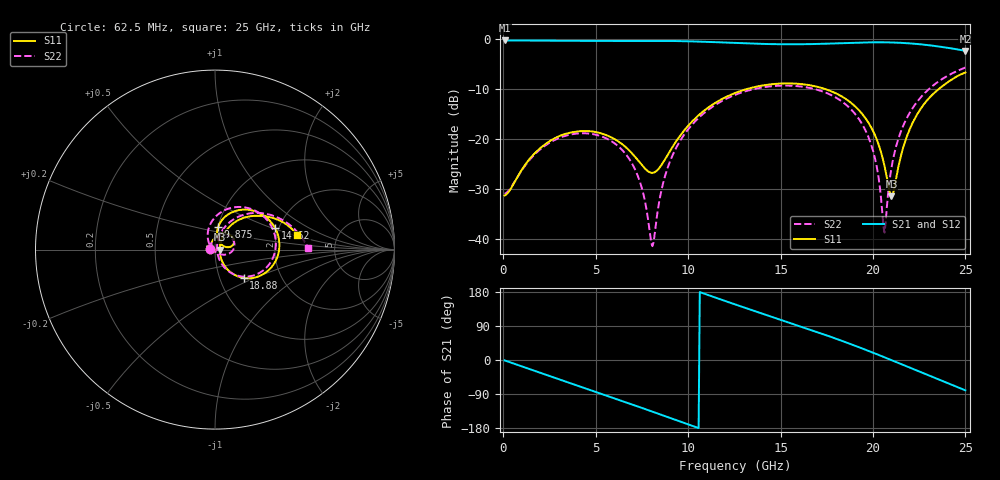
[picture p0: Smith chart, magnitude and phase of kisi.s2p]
! BV_ts_refinout2_q070f25s: /TS-PCIe Components/REFINOUT2 via F.Cu→B.Cu at (204.176, 89.904)
! stackup: Thunderscope_Rev5.3 from the board file and its kisi.json
! ports: 1 in, 2 out
! kisi-fdtd, conformal, dfine 0.07 mm, 354825 cells
# Hz S RI R 50
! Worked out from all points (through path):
!   400 points, 62.5 MHz to 25 GHz, reference 50 ohm
!   highest |S21| = -0.24 dB at 62.5 MHz (marker M1); lowest = -2.3 dB at 25 GHz (marker M2)
!   group delay of S21, straight-line fit = 48.1 ps
!   lowest |S11| = -31.5 dB at 21 GHz (marker M3), VSWR 1.05, Z = 52.7 - j0.112 ohm
!   |S11| at or under -10 dB: start of sweep to 13.16 GHz; 17.42 GHz to 23.55 GHz (6.137 GHz wide, 30 % of centre)
!   |S22| runs from -41.5 to -5.7 dB; largest |S21 - S12| = 0.0015
!   S11 on the Smith chart (normalised r, x): 62.5 MHz: 0.95, +0.01; 9.875 GHz: 1.00, +0.26; 14.62 GHz: 1.91, +0.52; 18.88 GHz: 1.30, -0.43; 25 GHz: 2.60, +0.55
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6.25e7  -0.0269 0.00301  0.9726 -0.0181  0.9726 -0.0181  -0.0279 0.00314
2.0625e9  0.0203 0.0803  0.7934 -0.5556  0.7934 -0.5555  0.0255 0.0765
4.25e9  0.0973 0.07  0.302 -0.9137  0.3019 -0.9137  0.1033 0.0482
6.875e9  0.0732 0.0131  -0.4207 -0.8669  -0.4206 -0.8669  0.0529 -0.0286
7.5625e9  0.0492 0.019  -0.589 -0.7635  -0.589 -0.7636  0.0182 -0.0219
8.0625e9  0.0328 0.0318  -0.6967 -0.6666  -0.6967 -0.6667  -0.00577 -0.0061
8.375e9  0.0241 0.0433  -0.7561 -0.5977  -0.7561 -0.5977  -0.0187 0.00827
8.9375e9  0.0136 0.0703  -0.8449 -0.4598  -0.845 -0.4598  -0.0355 0.0416
9.875e9  0.0179 0.1264  -0.9337 -0.2024  -0.9337 -0.2024  -0.0373 0.1106
1.25625e10  0.1872 0.2217  -0.7627 0.51  -0.7628 0.51  0.1445 0.2375
1.4625e10  0.3349 0.1196  -0.3394 0.826  -0.3394 0.826  0.311 0.1357
1.66875e10  0.3364 -0.0662  0.1775 0.8769  0.1774 0.8769  0.3158 -0.0604
1.8875e10  0.1603 -0.1582  0.7006 0.5983  0.7008 0.5981  0.126 -0.1452
2.00625e10  0.0586 -0.0976  0.8859 0.29  0.8855 0.2899  0.0277 -0.0633
2.03125e10  0.0442 -0.075  0.9077 0.214  0.9073 0.2141  0.0172 -0.0357
2.0625e10  0.0318 -0.0429  0.9246 0.1156  0.9243 0.1159  0.0113 0.00177
2.0875e10  0.0271 -0.0152  0.9294 0.0352  0.9292 0.0357  0.0129 0.0331
2.1e10  0.0266 -0.00107  0.9288 -0.00526  0.9287 -0.00469  0.0159 0.0488
2.15625e10  0.039 0.0625  0.9008 -0.1848  0.9014 -0.1844  0.0475 0.1166
2.24375e10  0.1053 0.149  0.7812 -0.4366  0.7813 -0.4373  0.1495 0.1907
2.375e10  0.2826 0.1849  0.4738 -0.6886  0.4733 -0.6889  0.3601 0.1734
2.5e10  0.4571 0.0826  0.1325 -0.7531  0.1337 -0.7522  0.5203 0.00736
